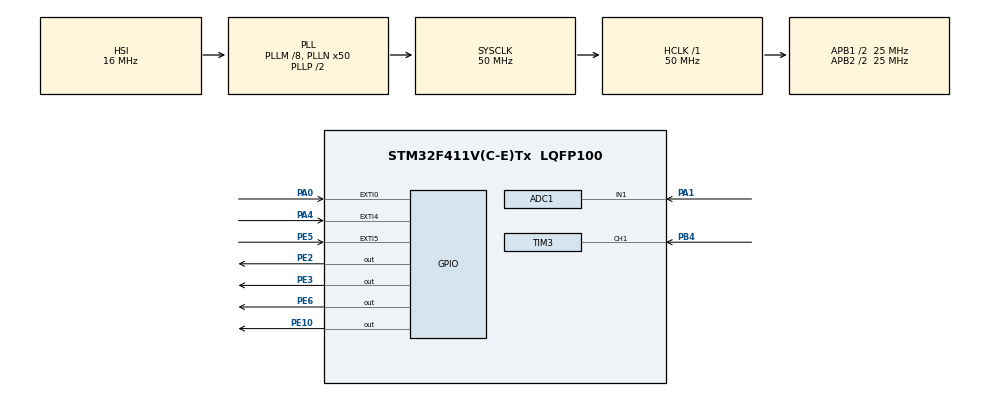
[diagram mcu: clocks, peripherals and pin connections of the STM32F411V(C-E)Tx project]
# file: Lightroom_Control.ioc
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ADC1.Channel-0\#ChannelRegularConversion=ADC_CHANNEL_1
ADC1.NbrOfConversionFlag=1
ADC1.Rank-0\#ChannelRegularConversion=1
ADC1.Resolution=ADC_RESOLUTION_8B
ADC1.SamplingTime-0\#ChannelRegularConversion=ADC_SAMPLETIME_480CYCLES
ADC1.master=1
Dma.ADC1.0.Direction=DMA_PERIPH_TO_MEMORY
Dma.ADC1.0.FIFOMode=DMA_FIFOMODE_DISABLE
Dma.ADC1.0.Instance=DMA2_Stream0
Dma.ADC1.0.MemDataAlignment=DMA_MDATAALIGN_HALFWORD
Dma.ADC1.0.MemInc=DMA_MINC_ENABLE
Dma.ADC1.0.Mode=DMA_NORMAL
Dma.ADC1.0.PeriphDataAlignment=DMA_PDATAALIGN_HALFWORD
Dma.ADC1.0.PeriphInc=DMA_PINC_DISABLE
Dma.ADC1.0.Priority=DMA_PRIORITY_LOW
Dma.Request0=ADC1
Mcu.Family=STM32F4
Mcu.Name=STM32F411V(C-E)Tx
Mcu.Package=LQFP100
NVIC.DMA2_Stream0_IRQn=true\:0\:0\:false\:false\:true\:false\:true\:true
NVIC.EXTI0_IRQn=true\:0\:0\:false\:false\:true\:true\:true\:true
NVIC.EXTI4_IRQn=true\:0\:0\:false\:false\:true\:true\:true\:true
NVIC.EXTI9_5_IRQn=true\:0\:0\:false\:false\:true\:true\:true\:true
NVIC.PriorityGroup=NVIC_PRIORITYGROUP_0
NVIC.TIM1_UP_TIM10_IRQn=true\:0\:0\:false\:false\:true\:true\:true\:true
NVIC.TIM2_IRQn=true\:0\:0\:false\:false\:true\:true\:true\:true
NVIC.TIM3_IRQn=true\:0\:0\:false\:false\:true\:true\:true\:true
PA0-WKUP.GPIO_ModeDefaultEXTI=GPIO_MODE_IT_RISING_FALLING
PA0-WKUP.Signal=GPXTI0
PA1.Signal=ADCx_IN1
PA4.Signal=GPXTI4
PB4.Signal=S_TIM3_CH1
PE10.Signal=GPIO_Output
PE2.Signal=GPIO_Output
PE3.Signal=GPIO_Output
PE5.GPIO_ModeDefaultEXTI=GPIO_MODE_IT_RISING_FALLING
PE5.Signal=GPXTI5
PE6.Signal=GPIO_Output
ProjectManager.HeapSize=0x200
ProjectManager.StackSize=0x400
ProjectManager.TargetToolchain=STM32CubeIDE
RCC.48MHZClocksFreq_Value=12500000
RCC.AHBFreq_Value=50000000
RCC.APB1CLKDivider=RCC_HCLK_DIV2
RCC.APB1Freq_Value=25000000
RCC.APB1TimFreq_Value=50000000
RCC.APB2CLKDivider=RCC_HCLK_DIV2
RCC.APB2Freq_Value=25000000
RCC.APB2TimFreq_Value=50000000
RCC.CortexFreq_Value=50000000
RCC.HCLKFreq_Value=50000000
RCC.HSE_VALUE=8000000
RCC.HSI_VALUE=16000000
RCC.LSE_VALUE=32768
RCC.PLLI2SM=5
RCC.PLLI2SN=200
RCC.PLLM=8
RCC.PLLN=50
RCC.PLLQ=8
RCC.SYSCLKFreq_VALUE=50000000
RCC.SYSCLKSource=RCC_SYSCLKSOURCE_PLLCLK
RCC.VCOOutputFreq_Value=100000000
SH.ADCx_IN1.0=ADC1_IN1,IN1
SH.S_TIM3_CH1.0=TIM3_CH1,Input_Capture1_from_TI1
TIM10.Period=9999
TIM10.Prescaler=49999
TIM2.CounterMode=TIM_COUNTERMODE_DOWN
TIM2.Period=99999
TIM2.Prescaler=4999
TIM3.Channel-Input_Capture1_from_TI1=TIM_CHANNEL_1
TIM3.Period=499
TIM3.Prescaler=99
VP_TIM10_VS_ClockSourceINT.Mode=Enable_Timer
VP_TIM2_VS_ClockSourceINT.Mode=Internal
VP_TIM3_VS_ClockSourceINT.Mode=Internal
board=STM32F411E-DISCO

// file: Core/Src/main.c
/* USER CODE BEGIN Header */
/**
  ******************************************************************************
  * @file           : main.c
  * @brief          : Main program body
  ******************************************************************************
  * @attention
  *
  * Copyright (c) 2024 STMicroelectronics.
  * All rights reserved.
  *
  * This software is licensed under terms that can be found in the LICENSE file
  * in the root directory of this software component.
  * If no LICENSE file comes with this software, it is provided AS-IS.
  *
  ******************************************************************************
  */
/* USER CODE END Header */
#include "main.h"

ADC_HandleTypeDef hadc1;
DMA_HandleTypeDef hdma_adc1;

TIM_HandleTypeDef htim2;
TIM_HandleTypeDef htim3;
TIM_HandleTypeDef htim10;

/* USER CODE BEGIN PV */
#define debouncer 300
#define MEDIDAS 5
int boton=0;
int botonBanyo=0;
int interruptorMANUAL=0; //lo usaremos para modificar manualmente los sensores
int val_LDR=0; //sensor luz, el led se enciende cuando haya poca luz
int presencia=0;
uint32_t time;
uint32_t ADC_val; //valor de luz captada por el LDR con dma de 32b
uint32_t umbral=70; //umbral de luz medicion ldr
uint32_t umbral_dist=250; // distancia minima a la cual se detecta presencia

//uint32_t Is_First_Captured=0;
uint32_t IC_Risevalue=0, IC_Fallvalue=0; //valores del contador en cada flanco
uint32_t num=0; //saber numero nums sensor
uint32_t distancia[MEDIDAS];

/* USER CODE END PV */

void SystemClock_Config(void);
static void MX_GPIO_Init(void);
static void MX_DMA_Init(void);
static void MX_TIM2_Init(void);
static void MX_TIM3_Init(void);
static void MX_TIM10_Init(void);
static void MX_ADC1_Init(void);

/* USER CODE BEGIN 0 */

void HAL_GPIO_EXTI_Callback(uint16_t GPIO_Pin){
	if(HAL_GetTick()-time>debouncer){
		if(GPIO_Pin==GPIO_PIN_0){
			if(interruptorMANUAL==0)
				interruptorMANUAL=1;
			else
				interruptorMANUAL=0;
		}
		if(GPIO_Pin==GPIO_PIN_5){
			if(boton==0)
				boton=1;
			else
				boton=0;
		}
		if(GPIO_Pin==GPIO_PIN_4){
			botonBanyo=1;
		}
		time=HAL_GetTick();
	}
}

/* USER CODE END 0 */

int main(void)
{

  /* MCU Configuration--------------------------------------------------------*/

  /* Reset of all peripherals, Initializes the Flash interface and the Systick. */
  HAL_Init();

  /* Configure the system clock */
  SystemClock_Config();

  /* Initialize all configured peripherals */
  MX_GPIO_Init();
  MX_DMA_Init();
  MX_TIM2_Init();
  MX_TIM3_Init();
  MX_TIM10_Init();
  MX_ADC1_Init();
  /* USER CODE BEGIN 2 */
  HAL_TIM_PWM_Start(&htim4, TIM_CHANNEL_4);
  HAL_TIM_IC_Start_IT(&htim3, TIM_CHANNEL_1);
  __HAL_TIM_SET_COMPARE(&htim4,TIM_CHANNEL_4,10);

  /* USER CODE END 2 */

  /* Infinite loop */
  while (1)
  {

    /* USER CODE BEGIN 3 */
	  if(boton==1){
		  HAL_GPIO_WritePin(GPIOE, GPIO_PIN_6, GPIO_PIN_SET);
	  }
	  else{
		  HAL_GPIO_WritePin(GPIOE, GPIO_PIN_6, GPIO_PIN_RESET);
	  }
	  if(botonBanyo==1 && htmi2.State!=HAL_TIM_STATE_BUSY){
		  //htmi2.State!=HAL_TIM_STATE_BUSY para evitar volver a activar el timer
		  HAL_GPIO_WritePin(GPIOE, GPIO_PIN_10, GPIO_PIN_SET);
		  HAL_TIM_Base_Start_IT(&htim2);
		  botonBanyo=0;
	  }
	  if(interruptorMANUAL==1){
	  	HAL_ADC_Stop_DMA(&hadc1);
	  	HAL_TIM_IC_Stop(&htim3, TIM_CHANNEL_1);
	  	HAL_TIM_PWM_Stop(&htim4, TIM_CHANNEL_4);
		HAL_GPIO_WritePin(GPIOE, GPIO_PIN_6, GPIO_PIN_SET);
		HAL_GPIO_WritePin(GPIOE, GPIO_PIN_2, GPIO_PIN_SET);
		HAL_GPIO_WritePin(GPIOE, GPIO_PIN_3, GPIO_PIN_SET);
		HAL_GPIO_WritePin(GPIOE, GPIO_PIN_10, GPIO_PIN_SET);
	  }
	  else{
		  HAL_ADC_Start_DMA(&hadc1, &ADC_val, 1);
		  HAL_TIM_IC_Start_IT(&htim3, TIM_CHANNEL_1);
		  HAL_TIM_PWM_Start(&htim4, TIM_CHANNEL_4);
		  HAL_GPIO_WritePin(GPIOE, GPIO_PIN_6, GPIO_PIN_RESET);
		  HAL_GPIO_WritePin(GPIOE, GPIO_PIN_2, GPIO_PIN_RESET);
		  HAL_GPIO_WritePin(GPIOE, GPIO_PIN_3, GPIO_PIN_RESET);
		  HAL_GPIO_WritePin(GPIOE, GPIO_PIN_10, GPIO_PIN_RESET);
		  if(val_LDR==1){
		  	  HAL_GPIO_WritePin(GPIOE, GPIO_PIN_2, GPIO_PIN_SET);
		  }else{
		  	  HAL_GPIO_WritePin(GPIOE, GPIO_PIN_2, GPIO_PIN_RESET);
		  }
		  if(presencia==1){
		  	  HAL_GPIO_WritePin(GPIOE, GPIO_PIN_3, GPIO_PIN_SET);
		  }else{
		      HAL_GPIO_WritePin(GPIOE, GPIO_PIN_3, GPIO_PIN_RESET);
		  }
	  }
  }
  /* USER CODE END 3 */
}

void SystemClock_Config(void)
{
  RCC_OscInitTypeDef RCC_OscInitStruct = {0};
  RCC_ClkInitTypeDef RCC_ClkInitStruct = {0};

  /** Configure the main internal regulator output voltage
  */
  __HAL_RCC_PWR_CLK_ENABLE();
  __HAL_PWR_VOLTAGESCALING_CONFIG(PWR_REGULATOR_VOLTAGE_SCALE1);

  /** Initializes the RCC Oscillators according to the specified parameters
  * in the RCC_OscInitTypeDef structure.
  */
  RCC_OscInitStruct.OscillatorType = RCC_OSCILLATORTYPE_HSI;
  RCC_OscInitStruct.HSIState = RCC_HSI_ON;
  RCC_OscInitStruct.HSICalibrationValue = RCC_HSICALIBRATION_DEFAULT;
  RCC_OscInitStruct.PLL.PLLState = RCC_PLL_ON;
  RCC_OscInitStruct.PLL.PLLSource = RCC_PLLSOURCE_HSI;
  RCC_OscInitStruct.PLL.PLLM = 8;
  RCC_OscInitStruct.PLL.PLLN = 50;
  RCC_OscInitStruct.PLL.PLLP = RCC_PLLP_DIV2;
  RCC_OscInitStruct.PLL.PLLQ = 8;
  if (HAL_RCC_OscConfig(&RCC_OscInitStruct) != HAL_OK)
  {
    Error_Handler();
  }

  /** Initializes the CPU, AHB and APB buses clocks
  */
  RCC_ClkInitStruct.ClockType = RCC_CLOCKTYPE_HCLK|RCC_CLOCKTYPE_SYSCLK
                              |RCC_CLOCKTYPE_PCLK1|RCC_CLOCKTYPE_PCLK2;
  RCC_ClkInitStruct.SYSCLKSource = RCC_SYSCLKSOURCE_PLLCLK;
  RCC_ClkInitStruct.AHBCLKDivider = RCC_SYSCLK_DIV1;
  RCC_ClkInitStruct.APB1CLKDivider = RCC_HCLK_DIV2;
  RCC_ClkInitStruct.APB2CLKDivider = RCC_HCLK_DIV2;

  if (HAL_RCC_ClockConfig(&RCC_ClkInitStruct, FLASH_LATENCY_1) != HAL_OK)
  {
    Error_Handler();
  }
}

static void MX_ADC1_Init(void)
{

  ADC_ChannelConfTypeDef sConfig = {0};

  /** Configure the global features of the ADC (Clock, Resolution, Data Alignment and number of conversion)
  */
  hadc1.Instance = ADC1;
  hadc1.Init.ClockPrescaler = ADC_CLOCK_SYNC_PCLK_DIV2;
  hadc1.Init.Resolution = ADC_RESOLUTION_8B;
  hadc1.Init.ScanConvMode = DISABLE;
  hadc1.Init.ContinuousConvMode = DISABLE;
  hadc1.Init.DiscontinuousConvMode = DISABLE;
  hadc1.Init.ExternalTrigConvEdge = ADC_EXTERNALTRIGCONVEDGE_NONE;
  hadc1.Init.ExternalTrigConv = ADC_SOFTWARE_START;
  hadc1.Init.DataAlign = ADC_DATAALIGN_RIGHT;
  hadc1.Init.NbrOfConversion = 1;
  hadc1.Init.DMAContinuousRequests = DISABLE;
  hadc1.Init.EOCSelection = ADC_EOC_SINGLE_CONV;
  if (HAL_ADC_Init(&hadc1) != HAL_OK)
  {
    Error_Handler();
  }

  /** Configure for the selected ADC regular channel its corresponding rank in the sequencer and its sample time.
  */
  sConfig.Channel = ADC_CHANNEL_1;
  sConfig.Rank = 1;
  sConfig.SamplingTime = ADC_SAMPLETIME_480CYCLES;
  if (HAL_ADC_ConfigChannel(&hadc1, &sConfig) != HAL_OK)
  {
    Error_Handler();
  }

}

static void MX_TIM2_Init(void)
{

  TIM_ClockConfigTypeDef sClockSourceConfig = {0};
  TIM_MasterConfigTypeDef sMasterConfig = {0};

  htim2.Instance = TIM2;
  htim2.Init.Prescaler = 4999;
  htim2.Init.CounterMode = TIM_COUNTERMODE_DOWN;
  htim2.Init.Period = 99999;
  htim2.Init.ClockDivision = TIM_CLOCKDIVISION_DIV1;
  htim2.Init.AutoReloadPreload = TIM_AUTORELOAD_PRELOAD_DISABLE;
  if (HAL_TIM_Base_Init(&htim2) != HAL_OK)
  {
    Error_Handler();
  }
  sClockSourceConfig.ClockSource = TIM_CLOCKSOURCE_INTERNAL;
  if (HAL_TIM_ConfigClockSource(&htim2, &sClockSourceConfig) != HAL_OK)
  {
    Error_Handler();
  }
  sMasterConfig.MasterOutputTrigger = TIM_TRGO_RESET;
  sMasterConfig.MasterSlaveMode = TIM_MASTERSLAVEMODE_DISABLE;
  if (HAL_TIMEx_MasterConfigSynchronization(&htim2, &sMasterConfig) != HAL_OK)
  {
    Error_Handler();
  }

}

static void MX_TIM3_Init(void)
{

  TIM_ClockConfigTypeDef sClockSourceConfig = {0};
  TIM_MasterConfigTypeDef sMasterConfig = {0};
  TIM_IC_InitTypeDef sConfigIC = {0};

  htim3.Instance = TIM3;
  htim3.Init.Prescaler = 99;
  htim3.Init.CounterMode = TIM_COUNTERMODE_UP;
  htim3.Init.Period = 499;
  htim3.Init.ClockDivision = TIM_CLOCKDIVISION_DIV1;
  htim3.Init.AutoReloadPreload = TIM_AUTORELOAD_PRELOAD_DISABLE;
  if (HAL_TIM_Base_Init(&htim3) != HAL_OK)
  {
    Error_Handler();
  }
  sClockSourceConfig.ClockSource = TIM_CLOCKSOURCE_INTERNAL;
  if (HAL_TIM_ConfigClockSource(&htim3, &sClockSourceConfig) != HAL_OK)
  {
    Error_Handler();
  }
  if (HAL_TIM_IC_Init(&htim3) != HAL_OK)
  {
    Error_Handler();
  }
  sMasterConfig.MasterOutputTrigger = TIM_TRGO_RESET;
  sMasterConfig.MasterSlaveMode = TIM_MASTERSLAVEMODE_DISABLE;
  if (HAL_TIMEx_MasterConfigSynchronization(&htim3, &sMasterConfig) != HAL_OK)
  {
    Error_Handler();
  }
  sConfigIC.ICPolarity = TIM_INPUTCHANNELPOLARITY_RISING;
  sConfigIC.ICSelection = TIM_ICSELECTION_DIRECTTI;
  sConfigIC.ICPrescaler = TIM_ICPSC_DIV1;
  sConfigIC.ICFilter = 0;
  if (HAL_TIM_IC_ConfigChannel(&htim3, &sConfigIC, TIM_CHANNEL_1) != HAL_OK)
  {
    Error_Handler();
  }

}

static void MX_TIM10_Init(void)
{

  htim10.Instance = TIM10;
  htim10.Init.Prescaler = 49999;
  htim10.Init.CounterMode = TIM_COUNTERMODE_UP;
  htim10.Init.Period = 9999;
  htim10.Init.ClockDivision = TIM_CLOCKDIVISION_DIV1;
  htim10.Init.AutoReloadPreload = TIM_AUTORELOAD_PRELOAD_DISABLE;
  if (HAL_TIM_Base_Init(&htim10) != HAL_OK)
  {
    Error_Handler();
  }

}

static void MX_DMA_Init(void)
{

  /* DMA controller clock enable */
  __HAL_RCC_DMA2_CLK_ENABLE();

  /* DMA interrupt init */
  /* DMA2_Stream0_IRQn interrupt configuration */
  HAL_NVIC_SetPriority(DMA2_Stream0_IRQn, 0, 0);
  HAL_NVIC_EnableIRQ(DMA2_Stream0_IRQn);

}

static void MX_GPIO_Init(void)
{
  GPIO_InitTypeDef GPIO_InitStruct = {0};

  /* GPIO Ports Clock Enable */
  __HAL_RCC_GPIOE_CLK_ENABLE();
  __HAL_RCC_GPIOA_CLK_ENABLE();
  __HAL_RCC_GPIOB_CLK_ENABLE();

  /*Configure GPIO pin Output Level */
  HAL_GPIO_WritePin(GPIOE, GPIO_PIN_2|GPIO_PIN_3|GPIO_PIN_6|GPIO_PIN_10, GPIO_PIN_RESET);

  /*Configure GPIO pins : PE2 PE3 PE6 PE10 */
  GPIO_InitStruct.Pin = GPIO_PIN_2|GPIO_PIN_3|GPIO_PIN_6|GPIO_PIN_10;
  GPIO_InitStruct.Mode = GPIO_MODE_OUTPUT_PP;
  GPIO_InitStruct.Pull = GPIO_NOPULL;
  GPIO_InitStruct.Speed = GPIO_SPEED_FREQ_LOW;
  HAL_GPIO_Init(GPIOE, &GPIO_InitStruct);

  /*Configure GPIO pin : PE5 */
  GPIO_InitStruct.Pin = GPIO_PIN_5;
  GPIO_InitStruct.Mode = GPIO_MODE_IT_RISING_FALLING;
  GPIO_InitStruct.Pull = GPIO_NOPULL;
  HAL_GPIO_Init(GPIOE, &GPIO_InitStruct);

  /*Configure GPIO pin : PA0 */
  GPIO_InitStruct.Pin = GPIO_PIN_0;
  GPIO_InitStruct.Mode = GPIO_MODE_IT_RISING_FALLING;
  GPIO_InitStruct.Pull = GPIO_NOPULL;
  HAL_GPIO_Init(GPIOA, &GPIO_InitStruct);

  /*Configure GPIO pin : PA4 */
  GPIO_InitStruct.Pin = GPIO_PIN_4;
  GPIO_InitStruct.Mode = GPIO_MODE_IT_RISING;
  GPIO_InitStruct.Pull = GPIO_NOPULL;
  HAL_GPIO_Init(GPIOA, &GPIO_InitStruct);

  /* EXTI interrupt init*/
  HAL_NVIC_SetPriority(EXTI0_IRQn, 0, 0);
  HAL_NVIC_EnableIRQ(EXTI0_IRQn);

  HAL_NVIC_SetPriority(EXTI4_IRQn, 0, 0);
  HAL_NVIC_EnableIRQ(EXTI4_IRQn);

  HAL_NVIC_SetPriority(EXTI9_5_IRQn, 0, 0);
  HAL_NVIC_EnableIRQ(EXTI9_5_IRQn);

}

/* USER CODE BEGIN 4 */
void HAL_ADC_ConvCpltCallback(ADC_HandleTypeDef * hadc){
	if(hadc->Instance == ADC1){
		ADC_val = HAL_ADC_GetValue(&hadc1);
		if(ADC_val < umbral) // Comparamos la luz ambiente captada por el LDR con el umbral definido
			val_LDR=1; //Si es menor entonces encendemos el LED
		else
			val_LDR=0; //Si es suficiente se mantiene apagado
	}
}

void HAL_TIM_IC_CaptureCallback(TIM_HandleTypeDef *htim){
	if(htim->Instance == TIM3){
		int media,suma;
		if (IC_Risevalue == 0){ // if the first value is not captured
			IC_Risevalue=HAL_TIM_ReadCapturedValue(&htim3, TIM_CHANNEL_1);
			// Now change the polarity to falling edge
			__HAL_TIM_SET_CAPTUREPOLARITY(&htim3, TIM_CHANNEL_1, TIM_INPUTCHANNELPOLARITY_FALLING);
		}
		else if (IC_Risevalue != 0){
			IC_Fallvalue = HAL_TIM_ReadCapturedValue(&htim3, TIM_CHANNEL_1);
			__HAL_TIM_SET_COUNTER(htim, 0);
			if(IC_Fallvalue > IC_Risevalue){
				if(num < MEDIDAS){
					distancia[num] = IC_Fallvalue - IC_Risevalue;
					num++;
				}
				else{
					for(int i = 0; i < num - 1; i++){
						distancia[i] = distancia[i+1];
					}
					distancia[num-1] = IC_Fallvalue - IC_Risevalue;
					for(int i = 0; i < MEDIDAS; i++){
						suma += distancia[i];
					}
					media=suma/MEDIDAS;
					if(media < umbral_dist){
						presencia = 1;
						HAL_TIM_Base_Start_IT(&htim10); // iniciamos el timer
					}
				}
			}
			IC_Risevalue = 0;
			// set polarity to rising edge
			__HAL_TIM_SET_CAPTUREPOLARITY(&htim3, TIM_CHANNEL_1, TIM_INPUTCHANNELPOLARITY_RISING);
			}
		}
	}
void HAL_TIM_PeriodElapsedCallback (TIM_HandleTypeDef *htim){
	if(htim==&htim2){
		HAL_GPIO_WritePin(GPIOE, GPIO_PIN_10, GPIO_PIN_RESET);
		botonBanyo = 0;
		HAL_TIM_Base_Stop_IT(&htim2);
	}
	if(htim->Instance == TIM10){
		presencia = 0;
		HAL_TIM_Base_Stop_IT(&htim10);
	}
}

/* USER CODE END 4 */

void Error_Handler(void)
{
  __disable_irq();
  while (1)
  {
  }
}
